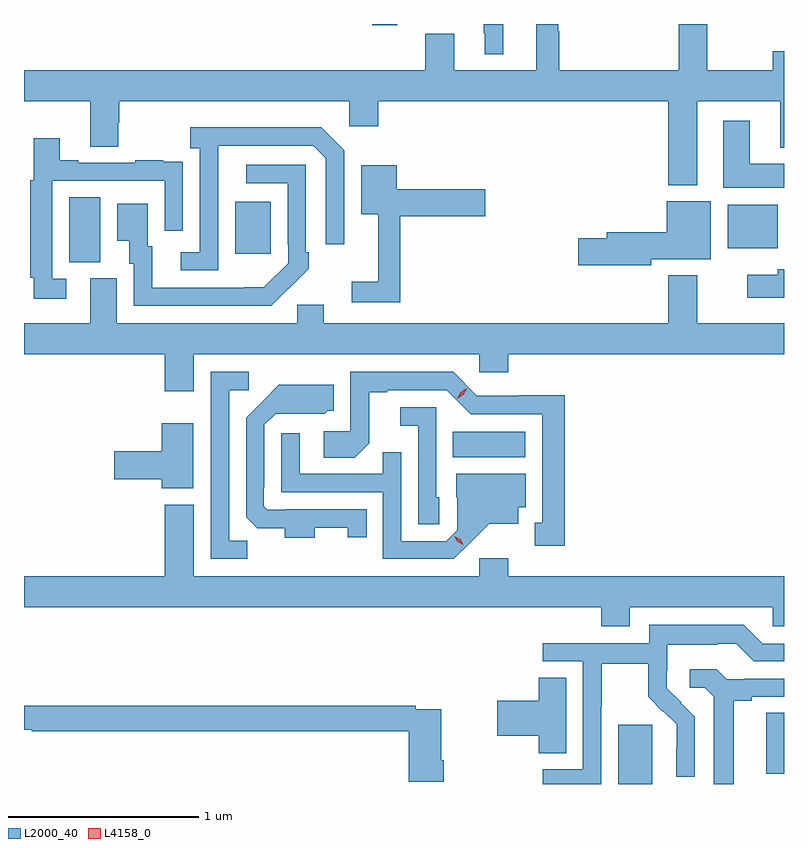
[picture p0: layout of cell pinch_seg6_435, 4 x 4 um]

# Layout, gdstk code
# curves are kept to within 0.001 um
import gdstk
lib = gdstk.Library(unit=1e-6, precision=1e-09)
def R(c, l, rs):  # rectangles x0, y0, x1, y1
    for r in rs: c.add(gdstk.rectangle(r[:2], r[2:], *l))
def P(c, l, *ps):  # polygons
    for p in ps: c.add(gdstk.Polygon(p, *l))
L2000_40 = (2000, 40)
L4158_0 = (4158, 0)

pinch_seg6_435 = lib.new_cell('pinch_seg6_435')
R(pinch_seg6_435, L2000_40, [(755.843,921.099,756.022,921.411), (756.623,921.153,756.716,921.473), (754.972,922.82,755.353,922.954), (752.954,923.845,753.118,924.188), (753.827,923.889,754.015,924.163), (756.419,923.918,756.682,924.148), (754.55,925.092,754.681,925.099)])
P(pinch_seg6_435, L2000_40, [(756.259,924.692),(756.695,924.692),(756.695,924.449),(756.716,924.449),(756.716,924.955),(756.658,924.955),(756.658,924.856),(756.313,924.856),(756.313,925.099),(756.161,925.099),(756.161,924.856),(755.534,924.856),(755.534,925.061),(755.529,925.061),(755.529,925.099),(755.411,925.099),(755.411,924.856),(754.981,924.856),(754.981,925.048),(754.829,925.048),(754.829,924.856),(752.716,924.856),(752.716,924.692),(753.065,924.692),(753.065,924.454),(753.213,924.454),(753.213,924.579),(753.218,924.579),(753.218,924.692),(754.428,924.692),(754.428,924.561),(754.58,924.561),(754.58,924.692),(756.107,924.692),(756.107,924.251),(756.259,924.251)],
  [(755.239,925.099),(755.137,925.099),(755.137,925.051),(755.141,925.051),(755.141,924.941),(755.239,924.941)],
  [(756.716,924.364),(756.535,924.364),(756.535,924.589),(756.395,924.589),(756.395,924.236),(756.716,924.236)],
  [(753.738,924.259),(753.739,924.459),(754.239,924.459),(754.305,924.393),(754.305,923.94),(754.401,923.94),(754.401,924.435),(754.28,924.556),(753.591,924.556),(753.591,924.446),(753.642,924.446),(753.642,923.898),(753.54,923.898),(753.54,923.802),(753.738,923.802)],
  [(752.938,923.757),(752.865,923.757),(752.865,924.273),(753.456,924.273),(753.456,924.012),(753.552,924.012),(753.552,924.266),(753.551,924.266),(753.551,924.375),(753.449,924.375),(753.449,924.382),(753.301,924.382),(753.301,924.369),(753.001,924.369),(753.001,924.382),(752.905,924.382),(752.905,924.499),(752.768,924.499),(752.768,924.276),(752.749,924.276),(752.749,923.764),(752.768,923.764),(752.768,923.652),(752.938,923.652)],
  [(754.109,923.707),(754.11,923.706),(754.215,923.811),(754.215,923.899),(754.2,923.899),(754.2,924.357),(753.885,924.357),(753.885,924.261),(754.104,924.261),(754.104,923.941),(754.107,923.941),(754.107,923.841),(753.979,923.713),(753.391,923.712),(753.391,923.928),(753.367,923.928),(753.367,924.154),(753.206,924.154),(753.206,923.957),(753.269,923.957),(753.269,923.838),(753.294,923.838),(753.294,923.616),(754.018,923.616)],
  [(754.697,924.086),(755.143,924.086),(755.143,924.228),(754.678,924.228),(754.678,924.355),(754.49,924.355),(754.49,924.098),(754.58,924.098),(754.58,923.743),(754.44,923.743),(754.44,923.634),(754.697,923.634)],
  [(756.018,923.861),(756.331,923.861),(756.331,924.166),(756.098,924.166),(756.098,924.002),(755.783,924.002),(755.783,923.972),(755.634,923.972),(755.634,923.83),(756.018,923.83)],
  [(756.716,923.809),(756.683,923.809),(756.683,923.779),(756.522,923.779),(756.522,923.657),(756.716,923.657)],
  [(753.61,923.36),(755.112,923.36),(755.112,923.267),(755.264,923.267),(755.264,923.36),(756.716,923.36),(756.716,923.524),(756.259,923.524),(756.259,923.776),(756.107,923.776),(756.107,923.524),(754.294,923.524),(754.294,923.622),(754.155,923.622),(754.155,923.524),(753.205,923.524),(753.205,923.76),(753.065,923.76),(753.065,923.524),(752.716,923.524),(752.716,923.36),(753.458,923.36),(753.458,923.166),(753.61,923.166)],
  [(755.563,923.144),(755.322,923.144),(755.322,923.142),(755.1,923.142),(754.974,923.268),(754.434,923.268),(754.434,922.956),(754.293,922.956),(754.293,922.816),(754.457,922.816),(754.533,922.892),(754.533,923.16),(754.627,923.16),(754.627,923.172),(754.941,923.172),(755.067,923.046),(755.444,923.046),(755.444,922.473),(755.405,922.473),(755.405,922.353),(755.563,922.353)],
  [(753.891,922.379),(753.795,922.379),(753.795,923.172),(753.898,923.172),(753.898,923.268),(753.699,923.268),(753.699,922.284),(753.891,922.284)],
  [(754.246,922.447),(754.419,922.447),(754.419,922.398),(754.52,922.398),(754.52,922.545),(754.096,922.545),(754.096,922.542),(753.996,922.542),(753.978,922.56),(753.978,922.66),(753.981,922.66),(753.981,922.989),(754.041,923.049),(754.298,923.048),(754.314,923.064),(754.345,923.064),(754.345,923.2),(754.057,923.2),(753.885,923.026),(753.885,922.504),(753.944,922.445),(754.088,922.445),(754.088,922.394),(754.246,922.394)],
  [(754.902,922.608),(754.887,922.608),(754.887,923.082),(754.695,923.082),(754.695,922.985),(754.791,922.985),(754.791,922.465),(754.902,922.465)],
  [(753.607,922.999),(753.44,922.999),(753.44,922.85),(753.192,922.85),(753.192,922.703),(753.44,922.703),(753.44,922.655),(753.607,922.655)],
  [(755.062,922.367),(755.165,922.469),(755.317,922.469),(755.317,922.556),(755.356,922.556),(755.356,922.732),(754.991,922.732),(754.991,922.608),(754.995,922.608),(754.995,922.434),(754.938,922.377),(754.701,922.377),(754.701,922.844),(754.603,922.844),(754.603,922.731),(754.167,922.731),(754.167,922.945),(754.071,922.945),(754.071,922.635),(754.605,922.635),(754.605,922.284),(754.978,922.284)],
  [(755.905,922.028),(756.657,922.028),(756.657,921.93),(756.716,921.93),(756.716,922.192),(755.264,922.192),(755.264,922.288),(755.112,922.288),(755.112,922.192),(753.61,922.192),(753.61,922.57),(753.458,922.57),(753.458,922.192),(752.716,922.192),(752.716,922.028),(755.753,922.028),(755.753,921.929),(755.905,921.929)],
  [(755.754,921.508),(755.757,921.508),(755.757,921.732),(756.001,921.732),(756.001,921.557),(756.078,921.48),(756.081,921.483),(756.152,921.413),(756.152,921.29),(756.15,921.29),(756.15,921.136),(756.246,921.136),(756.246,921.454),(756.1,921.602),(756.1,921.699),(756.102,921.699),(756.102,921.833),(756.365,921.833),(756.365,921.837),(756.465,921.837),(756.558,921.744),(756.716,921.744),(756.716,921.837),(756.603,921.837),(756.503,921.937),(756.006,921.937),(756.006,921.84),(755.445,921.84),(755.445,921.744),(755.658,921.744),(755.658,921.177),(755.445,921.177),(755.445,921.099),(755.754,921.099)],
  [(756.451,921.536),(756.547,921.536),(756.547,921.558),(756.716,921.558),(756.716,921.654),(756.508,921.654),(756.508,921.651),(756.414,921.651),(756.362,921.703),(756.219,921.703),(756.219,921.606),(756.3,921.606),(756.347,921.559),(756.347,921.099),(756.451,921.099)],
  [(755.569,921.659),(755.426,921.659),(755.426,921.536),(755.208,921.536),(755.208,921.353),(755.426,921.353),(755.426,921.262),(755.569,921.262)],
  [(754.925,921.223),(754.912,921.223),(754.912,921.492),(754.778,921.492),(754.778,921.512),(752.716,921.512),(752.716,921.384),(752.758,921.384),(752.758,921.376),(754.742,921.376),(754.742,921.111),(754.925,921.111)])
P(pinch_seg6_435, L4158_0, [(754.997,923.129),(754.997,923.13),(755.015,923.162),(755.047,923.181),(755.047,923.181),(755.047,923.18),(755.029,923.148),(754.998,923.129)],
  [(755.028,922.358),(754.998,922.373),(754.98,922.403),(754.98,922.403),(754.98,922.403),(755.011,922.388),(755.028,922.358),(755.028,922.358)])

lib.write_gds('pinch_seg6_435.gds')
